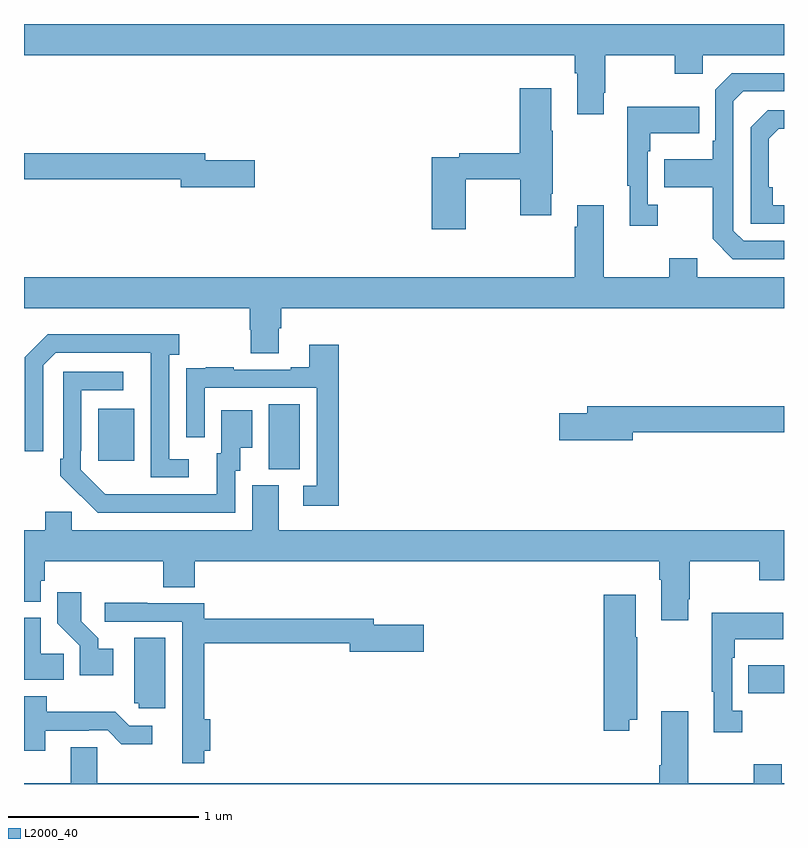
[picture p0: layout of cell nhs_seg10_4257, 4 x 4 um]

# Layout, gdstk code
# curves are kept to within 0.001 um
import gdstk
lib = gdstk.Library(unit=1e-6, precision=1e-09)
def R(c, l, rs):  # rectangles x0, y0, x1, y1
    for r in rs: c.add(gdstk.rectangle(r[:2], r[2:], *l))
def P(c, l, *ps):  # polygons
    for p in ps: c.add(gdstk.Polygon(p, *l))
L2000_40 = (2000, 40)

nhs_seg10_4257 = lib.new_cell('nhs_seg10_4257')
R(nhs_seg10_4257, L2000_40, [(352.813,1276.978,353,1277.125), (350.288,1278.157,350.452,1278.5), (349.391,1278.201,349.579,1278.475)])
P(nhs_seg10_4257, L2000_40, [(352.051,1280.137),(352.059,1280.137),(352.059,1280.336),(352.426,1280.336),(352.426,1280.237),(352.572,1280.237),(352.572,1280.336),(353,1280.336),(353,1280.5),(349,1280.5),(349,1280.336),(351.899,1280.336),(351.899,1280.24),(351.911,1280.24),(351.911,1280.025),(352.051,1280.025)],
  [(353,1279.359),(352.788,1279.359),(352.734,1279.413),(352.734,1280.094),(352.785,1280.145),(353,1280.145),(353,1280.241),(352.725,1280.241),(352.638,1280.154),(352.638,1279.885),(352.626,1279.885),(352.626,1279.789),(352.369,1279.789),(352.369,1279.642),(352.626,1279.642),(352.626,1279.369),(352.731,1279.263),(353,1279.263)],
  [(351.324,1279.684),(351.613,1279.684),(351.613,1279.494),(351.775,1279.494),(351.775,1279.606),(351.783,1279.606),(351.783,1279.937),(351.775,1279.937),(351.775,1280.161),(351.608,1280.161),(351.608,1279.82),(351.292,1279.82),(351.292,1279.8),(351.146,1279.8),(351.146,1279.419),(351.324,1279.419)],
  [(352.336,1279.55),(352.284,1279.55),(352.284,1279.829),(352.297,1279.829),(352.297,1279.925),(352.553,1279.925),(352.553,1280.065),(352.176,1280.065),(352.176,1279.649),(352.187,1279.649),(352.187,1279.437),(352.336,1279.437)],
  [(353,1279.545),(352.94,1279.545),(352.94,1279.642),(352.92,1279.642),(352.92,1279.896),(352.973,1279.949),(353,1279.949),(353,1280.046),(352.914,1280.046),(352.824,1279.956),(352.824,1279.449),(353,1279.449)],
  [(350.215,1279.784),(349.954,1279.784),(349.954,1279.82),(349,1279.82),(349,1279.684),(349.826,1279.684),(349.826,1279.642),(350.215,1279.642)],
  [(350.341,1278.898),(350.354,1278.898),(350.354,1279.004),(353,1279.004),(353,1279.168),(352.543,1279.168),(352.543,1279.267),(352.396,1279.267),(352.396,1279.168),(352.051,1279.168),(352.051,1279.546),(351.911,1279.546),(351.911,1279.433),(351.899,1279.433),(351.899,1279.168),(349,1279.168),(349,1279.004),(350.189,1279.004),(350.189,1278.891),(350.194,1278.891),(350.194,1278.766),(350.341,1278.766)],
  [(349.867,1278.21),(349.764,1278.21),(349.764,1278.758),(349.816,1278.758),(349.816,1278.868),(349.126,1278.868),(349.005,1278.747),(349.005,1278.252),(349.101,1278.252),(349.101,1278.705),(349.167,1278.771),(349.667,1278.771),(349.668,1278.114),(349.867,1278.114)],
  [(350.657,1278.811),(350.501,1278.811),(350.501,1278.694),(350.405,1278.694),(350.405,1278.681),(350.105,1278.681),(350.105,1278.694),(349.957,1278.694),(349.957,1278.687),(349.855,1278.687),(349.855,1278.578),(349.854,1278.578),(349.854,1278.324),(349.95,1278.324),(349.95,1278.585),(350.541,1278.585),(350.541,1278.069),(350.469,1278.069),(350.469,1277.964),(350.657,1277.964)],
  [(350.112,1278.15),(350.137,1278.15),(350.137,1278.269),(350.2,1278.269),(350.2,1278.466),(350.039,1278.466),(350.039,1278.24),(350.015,1278.24),(350.015,1278.024),(349.428,1278.025),(349.299,1278.153),(349.299,1278.253),(349.302,1278.253),(349.302,1278.573),(349.522,1278.573),(349.522,1278.669),(349.206,1278.669),(349.206,1278.211),(349.191,1278.211),(349.191,1278.123),(349.388,1277.928),(350.112,1277.928)],
  [(352.204,1278.352),(353,1278.352),(353,1278.488),(351.965,1278.488),(351.965,1278.452),(351.816,1278.452),(351.816,1278.31),(352.204,1278.31)],
  [(352.495,1277.473),(352.503,1277.473),(352.503,1277.672),(352.87,1277.672),(352.87,1277.573),(353,1277.573),(353,1277.836),(350.341,1277.836),(350.341,1278.072),(350.201,1278.072),(350.201,1277.836),(349.251,1277.836),(349.251,1277.934),(349.112,1277.934),(349.112,1277.836),(349,1277.836),(349,1277.459),(349.089,1277.459),(349.089,1277.571),(349.109,1277.571),(349.109,1277.672),(349.733,1277.672),(349.733,1277.536),(349.898,1277.536),(349.898,1277.672),(352.343,1277.672),(352.343,1277.576),(352.355,1277.576),(352.355,1277.361),(352.495,1277.361)],
  [(349.471,1277.212),(349.39,1277.212),(349.39,1277.267),(349.3,1277.357),(349.3,1277.509),(349.174,1277.509),(349.174,1277.346),(349.293,1277.227),(349.293,1277.072),(349.471,1277.072)],
  [(352.186,1276.838),(352.227,1276.838),(352.227,1277.273),(352.219,1277.273),(352.219,1277.497),(352.052,1277.497),(352.052,1276.779),(352.186,1276.779)],
  [(349.949,1276.676),(349.979,1276.676),(349.979,1276.842),(349.949,1276.842),(349.949,1277.242),(350.714,1277.242),(350.714,1277.195),(351.103,1277.195),(351.103,1277.337),(350.842,1277.337),(350.842,1277.371),(349.949,1277.371),(349.949,1277.451),(349.649,1277.451),(349.649,1277.454),(349.425,1277.454),(349.425,1277.355),(349.833,1277.355),(349.833,1276.83),(349.832,1276.83),(349.832,1276.608),(349.949,1276.608)],
  [(352.78,1276.886),(352.728,1276.886),(352.728,1277.165),(352.741,1277.165),(352.741,1277.261),(352.997,1277.261),(352.997,1277.401),(352.62,1277.401),(352.62,1276.985),(352.631,1276.985),(352.631,1276.773),(352.78,1276.773)],
  [(349.208,1277.186),(349.087,1277.186),(349.087,1277.374),(349,1277.374),(349,1277.048),(349.208,1277.048)],
  [(349.744,1277.27),(349.58,1277.27),(349.58,1276.926),(349.605,1276.926),(349.605,1276.899),(349.744,1276.899)],
  [(349.111,1276.779),(349.34,1276.779),(349.34,1276.782),(349.44,1276.782),(349.513,1276.709),(349.675,1276.709),(349.675,1276.806),(349.554,1276.806),(349.481,1276.879),(349.119,1276.879),(349.119,1276.963),(349,1276.963),(349,1276.674),(349.111,1276.674)],
  [(353,1276.504),(352.987,1276.504),(352.987,1276.603),(352.84,1276.603),(352.84,1276.504),(352.495,1276.504),(352.495,1276.882),(352.355,1276.882),(352.355,1276.6),(352.343,1276.6),(352.343,1276.504),(349.386,1276.504),(349.386,1276.694),(349.247,1276.694),(349.247,1276.504),(349,1276.504),(349,1276.5),(353,1276.5)])

lib.write_gds('nhs_seg10_4257.gds')
